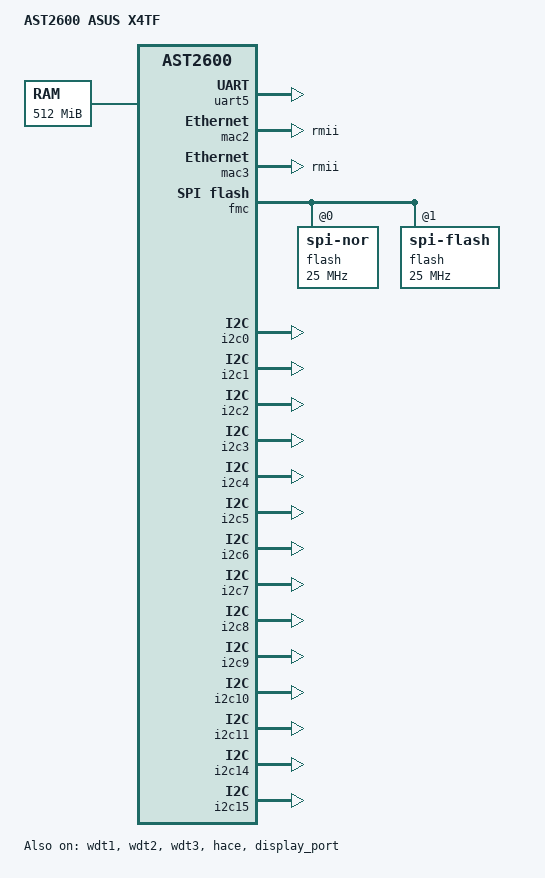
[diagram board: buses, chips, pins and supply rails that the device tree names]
// SPDX-License-Identifier: GPL-2.0+
// Copyright 2024 ASUS Corp.
/dts-v1/;

#include "ast2600-u-boot.dtsi"

/ {
	model = "AST2600 ASUS X4TF";
	compatible = "aspeed,ast2600-asus", "aspeed,ast2600";

	memory {
		device_type = "memory";
		reg = <0x80000000 0x20000000>;
	};

	chosen {
		stdout-path = &uart5;
	};

	aliases {
		spi0 = &fmc;
		ethernet0 = &mac2;
		ethernet1 = &mac3;
	};

	cpus {
		cpu@0 {
			clock-frequency = <800000000>;
		};

		cpu@1 {
			clock-frequency = <800000000>;
		};
	};
};

&uart5 {
	status = "okay";
};

&sdrammc {
	clock-frequency = <400000000>;
};

&wdt1 {
	status = "okay";
};

&wdt2 {
	status = "okay";
};

&wdt3 {
	status = "okay";
};

&mac2 {
	status = "okay";
	phy-mode = "rmii";
	pinctrl-names = "default";
	pinctrl-0 = <&pinctrl_rmii3_default>;
};

&mac3 {
	status = "okay";
	phy-mode = "rmii";
	pinctrl-names = "default";
	pinctrl-0 = <&pinctrl_rmii4_default>;
};

&fmc {
	status = "okay";

	flash@0 {
		compatible = "jedec,spi-nor", "macronix,mx66l2g45g";
		status = "okay";
		spi-max-frequency = <25000000>;
		spi-tx-bus-width = <2>;
		spi-rx-bus-width = <2>;
	};

	flash@1 {
		compatible = "spi-flash", "sst,w25q256";
		status = "okay";
		spi-max-frequency = <25000000>;
		spi-tx-bus-width = <4>;
		spi-rx-bus-width = <4>;
	};
};

&hace {
	status = "okay";
};

&i2c0 {
	status = "okay";
};

&i2c1 {
	status = "okay";
};

&i2c2 {
	status = "okay";
};

&i2c3 {
	status = "okay";
};

&i2c4 {
	status = "okay";
};

&i2c5 {
	status = "okay";
};

&i2c6 {
	status = "okay";
};

&i2c7 {
	status = "okay";
};

&i2c8 {
	status = "okay";
};

&i2c9 {
	status = "okay";
};

&i2c10 {
	status = "okay";
};

&i2c11 {
	status = "okay";
};

&i2c12 {
	status = "disabled";
};

&i2c13 {
	status = "disabled";
};

&i2c14 {
	status = "okay";
};

&i2c15 {
	status = "okay";
};

&display_port {
	status = "okay";
};
